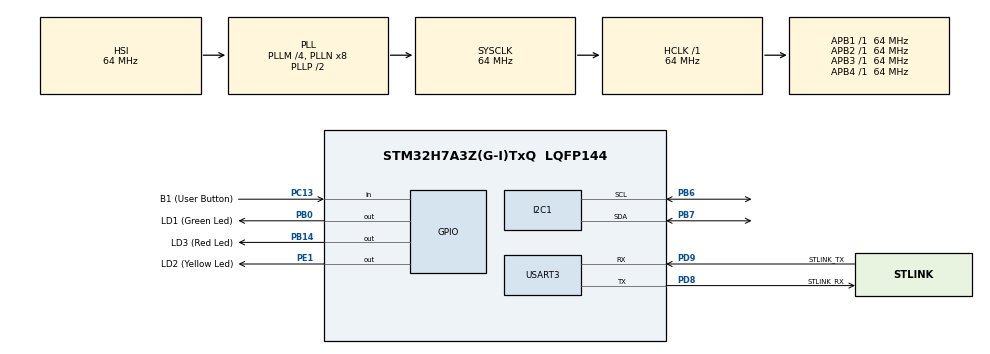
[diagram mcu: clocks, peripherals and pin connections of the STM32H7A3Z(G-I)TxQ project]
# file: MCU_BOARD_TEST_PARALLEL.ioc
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CORTEX_M7.default_mode_Activation=1
Mcu.Family=STM32H7
Mcu.Name=STM32H7A3Z(G-I)TxQ
Mcu.Package=LQFP144
NVIC.PriorityGroup=NVIC_PRIORITYGROUP_4
PB0.GPIO_Label=LD1 (Green Led)
PB0.Signal=GPIO_Output
PB14.GPIO_Label=LD3 (Red Led)
PB14.Signal=GPIO_Output
PB6.GPIO_Pu=GPIO_PULLUP
PB6.Mode=I2C
PB6.Signal=I2C1_SCL
PB7.GPIO_Pu=GPIO_PULLUP
PB7.Mode=I2C
PB7.Signal=I2C1_SDA
PC13.GPIO_Label=B1 (User Button)
PC13.Signal=GPIO_Input
PC14-OSC32_IN.GPIO_Label=OSC32_IN
PC14-OSC32_IN.Signal=RCC_OSC32_IN
PC15-OSC32_OUT.GPIO_Label=OSC32_OUT
PC15-OSC32_OUT.Signal=RCC_OSC32_OUT
PD8.GPIO_Label=STLINK_RX
PD8.Mode=Asynchronous
PD8.Signal=USART3_TX
PD9.GPIO_Label=STLINK_TX
PD9.Mode=Asynchronous
PD9.Signal=USART3_RX
PE1.GPIO_Label=LD2 (Yellow Led)
PE1.Signal=GPIO_Output
PH0-OSC_IN.GPIO_Label=PH0-MCU
PH0-OSC_IN.Signal=RCC_OSC_IN
PH1-OSC_OUT.GPIO_Label=PH1-MCU
PH1-OSC_OUT.Signal=RCC_OSC_OUT
ProjectManager.HeapSize=0x200
ProjectManager.StackSize=0x400
ProjectManager.TargetToolchain=STM32CubeIDE
RCC.ADCFreq_Value=129000000
RCC.APB1Freq_Value=64000000
RCC.APB2Freq_Value=64000000
RCC.APB3Freq_Value=64000000
RCC.APB4Freq_Value=64000000
RCC.CortexFreq_Value=64000000
RCC.DIVM1=4
RCC.DIVM3=1
RCC.DIVN1=8
RCC.DIVN3=24
RCC.DIVQ1=4
RCC.HCLKFreq_Value=64000000
RCC.HSE_VALUE=8000000
RCC.PLLFRACN=0
RCC.PWR_Regulator_Voltage_Scale=PWR_REGULATOR_VOLTAGE_SCALE0
RCC.SYSCLKFreq_VALUE=64000000
RCC.SYSCLKSource=RCC_SYSCLKSOURCE_PLLCLK
RCC.SupplySource=PWR_DIRECT_SMPS_SUPPLY
RCC.USBCLockSelection=RCC_USBCLKSOURCE_HSI48
RCC.USBFreq_Value=48000000
USART3.VirtualMode-Asynchronous=VM_ASYNC
VP_MEMORYMAP_VS_MEMORYMAP.Mode=CurAppReg
board=NUCLEO-H7A3ZI-Q

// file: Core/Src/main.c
/* USER CODE BEGIN Header */
/**
  ******************************************************************************
  * @file           : main.c
  * @brief          : Main program body
  ******************************************************************************
  * @attention
  *
  * Copyright (c) 2026 STMicroelectronics.
  * All rights reserved.
  *
  * This software is licensed under terms that can be found in the LICENSE file
  * in the root directory of this software component.
  * If no LICENSE file comes with this software, it is provided AS-IS.
  *
  ******************************************************************************
  */
/* USER CODE END Header */
#include "main.h"

I2C_HandleTypeDef hi2c1;

UART_HandleTypeDef huart3;

void SystemClock_Config(void);
static void MPU_Config(void);
static void MX_GPIO_Init(void);
static void MX_I2C1_Init(void);
static void MX_USART3_UART_Init(void);
/* USER CODE BEGIN PFP */

void I2C_Scanner(void);

/* USER CODE END PFP */

int main(void)
{

  /* MPU Configuration--------------------------------------------------------*/
  MPU_Config();

  /* MCU Configuration--------------------------------------------------------*/

  /* Reset of all peripherals, Initializes the Flash interface and the Systick. */
  HAL_Init();

  /* Configure the system clock */
  SystemClock_Config();

  /* Initialize all configured peripherals */
  MX_GPIO_Init();
  MX_I2C1_Init();
  MX_USART3_UART_Init();

  /* Infinite loop */
  /* USER CODE BEGIN WHILE */
  while (1)
  {
	  I2C_Scanner();
	  HAL_Delay(5000);
    /* USER CODE END WHILE */

  }
}

void SystemClock_Config(void)
{
  RCC_OscInitTypeDef RCC_OscInitStruct = {0};
  RCC_ClkInitTypeDef RCC_ClkInitStruct = {0};

  /*AXI clock gating */
  RCC->CKGAENR = 0xE003FFFF;

  /** Supply configuration update enable
  */
  HAL_PWREx_ConfigSupply(PWR_DIRECT_SMPS_SUPPLY);

  /** Configure the main internal regulator output voltage
  */
  __HAL_PWR_VOLTAGESCALING_CONFIG(PWR_REGULATOR_VOLTAGE_SCALE0);

  while(!__HAL_PWR_GET_FLAG(PWR_FLAG_VOSRDY)) {}

  /** Initializes the RCC Oscillators according to the specified parameters
  * in the RCC_OscInitTypeDef structure.
  */
  RCC_OscInitStruct.OscillatorType = RCC_OSCILLATORTYPE_HSI;
  RCC_OscInitStruct.HSIState = RCC_HSI_DIV1;
  RCC_OscInitStruct.HSICalibrationValue = 64;
  RCC_OscInitStruct.PLL.PLLState = RCC_PLL_ON;
  RCC_OscInitStruct.PLL.PLLSource = RCC_PLLSOURCE_HSI;
  RCC_OscInitStruct.PLL.PLLM = 4;
  RCC_OscInitStruct.PLL.PLLN = 8;
  RCC_OscInitStruct.PLL.PLLP = 2;
  RCC_OscInitStruct.PLL.PLLQ = 4;
  RCC_OscInitStruct.PLL.PLLR = 2;
  RCC_OscInitStruct.PLL.PLLRGE = RCC_PLL1VCIRANGE_3;
  RCC_OscInitStruct.PLL.PLLVCOSEL = RCC_PLL1VCOWIDE;
  RCC_OscInitStruct.PLL.PLLFRACN = 0;
  if (HAL_RCC_OscConfig(&RCC_OscInitStruct) != HAL_OK)
  {
    Error_Handler();
  }

  /** Initializes the CPU, AHB and APB buses clocks
  */
  RCC_ClkInitStruct.ClockType = RCC_CLOCKTYPE_HCLK|RCC_CLOCKTYPE_SYSCLK
                              |RCC_CLOCKTYPE_PCLK1|RCC_CLOCKTYPE_PCLK2
                              |RCC_CLOCKTYPE_D3PCLK1|RCC_CLOCKTYPE_D1PCLK1;
  RCC_ClkInitStruct.SYSCLKSource = RCC_SYSCLKSOURCE_PLLCLK;
  RCC_ClkInitStruct.SYSCLKDivider = RCC_SYSCLK_DIV1;
  RCC_ClkInitStruct.AHBCLKDivider = RCC_HCLK_DIV1;
  RCC_ClkInitStruct.APB3CLKDivider = RCC_APB3_DIV1;
  RCC_ClkInitStruct.APB1CLKDivider = RCC_APB1_DIV1;
  RCC_ClkInitStruct.APB2CLKDivider = RCC_APB2_DIV1;
  RCC_ClkInitStruct.APB4CLKDivider = RCC_APB4_DIV1;

  if (HAL_RCC_ClockConfig(&RCC_ClkInitStruct, FLASH_LATENCY_1) != HAL_OK)
  {
    Error_Handler();
  }
}

static void MX_I2C1_Init(void)
{

  hi2c1.Instance = I2C1;
  hi2c1.Init.Timing = 0x10707DBC;
  hi2c1.Init.OwnAddress1 = 0;
  hi2c1.Init.AddressingMode = I2C_ADDRESSINGMODE_7BIT;
  hi2c1.Init.DualAddressMode = I2C_DUALADDRESS_DISABLE;
  hi2c1.Init.OwnAddress2 = 0;
  hi2c1.Init.OwnAddress2Masks = I2C_OA2_NOMASK;
  hi2c1.Init.GeneralCallMode = I2C_GENERALCALL_DISABLE;
  hi2c1.Init.NoStretchMode = I2C_NOSTRETCH_DISABLE;
  if (HAL_I2C_Init(&hi2c1) != HAL_OK)
  {
    Error_Handler();
  }

  /** Configure Analogue filter
  */
  if (HAL_I2CEx_ConfigAnalogFilter(&hi2c1, I2C_ANALOGFILTER_ENABLE) != HAL_OK)
  {
    Error_Handler();
  }

  /** Configure Digital filter
  */
  if (HAL_I2CEx_ConfigDigitalFilter(&hi2c1, 0) != HAL_OK)
  {
    Error_Handler();
  }

}

static void MX_USART3_UART_Init(void)
{

  huart3.Instance = USART3;
  huart3.Init.BaudRate = 115200;
  huart3.Init.WordLength = UART_WORDLENGTH_8B;
  huart3.Init.StopBits = UART_STOPBITS_1;
  huart3.Init.Parity = UART_PARITY_NONE;
  huart3.Init.Mode = UART_MODE_TX_RX;
  huart3.Init.HwFlowCtl = UART_HWCONTROL_NONE;
  huart3.Init.OverSampling = UART_OVERSAMPLING_16;
  huart3.Init.OneBitSampling = UART_ONE_BIT_SAMPLE_DISABLE;
  huart3.Init.ClockPrescaler = UART_PRESCALER_DIV1;
  huart3.AdvancedInit.AdvFeatureInit = UART_ADVFEATURE_NO_INIT;
  if (HAL_UART_Init(&huart3) != HAL_OK)
  {
    Error_Handler();
  }
  if (HAL_UARTEx_SetTxFifoThreshold(&huart3, UART_TXFIFO_THRESHOLD_1_8) != HAL_OK)
  {
    Error_Handler();
  }
  if (HAL_UARTEx_SetRxFifoThreshold(&huart3, UART_RXFIFO_THRESHOLD_1_8) != HAL_OK)
  {
    Error_Handler();
  }
  if (HAL_UARTEx_DisableFifoMode(&huart3) != HAL_OK)
  {
    Error_Handler();
  }

}

static void MX_GPIO_Init(void)
{
  GPIO_InitTypeDef GPIO_InitStruct = {0};

  /* GPIO Ports Clock Enable */
  __HAL_RCC_GPIOC_CLK_ENABLE();
  __HAL_RCC_GPIOH_CLK_ENABLE();
  __HAL_RCC_GPIOB_CLK_ENABLE();
  __HAL_RCC_GPIOD_CLK_ENABLE();
  __HAL_RCC_GPIOE_CLK_ENABLE();

  /*Configure GPIO pin Output Level */
  HAL_GPIO_WritePin(GPIOB, LD1_Pin|LD3_Pin, GPIO_PIN_RESET);

  /*Configure GPIO pin Output Level */
  HAL_GPIO_WritePin(LD2_GPIO_Port, LD2_Pin, GPIO_PIN_RESET);

  /*Configure GPIO pin : B1_Pin */
  GPIO_InitStruct.Pin = B1_Pin;
  GPIO_InitStruct.Mode = GPIO_MODE_INPUT;
  GPIO_InitStruct.Pull = GPIO_NOPULL;
  HAL_GPIO_Init(B1_GPIO_Port, &GPIO_InitStruct);

  /*Configure GPIO pins : LD1_Pin LD3_Pin */
  GPIO_InitStruct.Pin = LD1_Pin|LD3_Pin;
  GPIO_InitStruct.Mode = GPIO_MODE_OUTPUT_PP;
  GPIO_InitStruct.Pull = GPIO_NOPULL;
  GPIO_InitStruct.Speed = GPIO_SPEED_FREQ_LOW;
  HAL_GPIO_Init(GPIOB, &GPIO_InitStruct);

  /*Configure GPIO pin : LD2_Pin */
  GPIO_InitStruct.Pin = LD2_Pin;
  GPIO_InitStruct.Mode = GPIO_MODE_OUTPUT_PP;
  GPIO_InitStruct.Pull = GPIO_NOPULL;
  GPIO_InitStruct.Speed = GPIO_SPEED_FREQ_LOW;
  HAL_GPIO_Init(LD2_GPIO_Port, &GPIO_InitStruct);

}

/* USER CODE BEGIN 4 */
/************************************* USER DEFINED FUNCTIONS ****************************************/
/************************************* USER DEFINED FUNCTIONS ****************************************/
/************************************* USER DEFINED FUNCTIONS ****************************************/
void I2C_Scanner(void)
{
    char msg[64];
    HAL_UART_Transmit(&huart3, (uint8_t*)"Scanning I2C bus...\r\n", 21, 100);

    HAL_StatusTypeDef result;
    uint8_t i;
    int count = 0;

    for (i = 1; i < 128; i++)
    {
        /*
         * HAL_I2C_IsDeviceReady checks if a device acknowledges an address.
         * Params:
         * 1. I2C Handle (&hi2c1)
         * 2. Device Address (shifted left by 1)
         * 3. Number of trials (1 is usually enough)
         * 4. Timeout in ms (10ms)
         */
        result = HAL_I2C_IsDeviceReady(&hi2c1, (uint16_t)(i << 1), 1, 10);

        if (result == HAL_OK)
        {
            sprintf(msg, "I2C device found at address: 0x%02X\r\n", i);
            HAL_UART_Transmit(&huart3, (uint8_t*)msg, strlen(msg), 100);
            count++;
        }
    }

    if (count == 0)
    {
        HAL_UART_Transmit(&huart3, (uint8_t*)"No I2C devices found.\r\n", 25, 100);
    }
    else
    {
        HAL_UART_Transmit(&huart3, (uint8_t*)"Scan Complete.\r\n", 16, 100);
    }
}
/************************************* USER DEFINED FUNCTIONS ****************************************/
/************************************* USER DEFINED FUNCTIONS ****************************************/
/************************************* USER DEFINED FUNCTIONS ****************************************/
/* USER CODE END 4 */

 /* MPU Configuration */

void MPU_Config(void)
{
  MPU_Region_InitTypeDef MPU_InitStruct = {0};

  /* Disables the MPU */
  HAL_MPU_Disable();

  /** Initializes and configures the Region and the memory to be protected
  */
  MPU_InitStruct.Enable = MPU_REGION_ENABLE;
  MPU_InitStruct.Number = MPU_REGION_NUMBER0;
  MPU_InitStruct.BaseAddress = 0x0;
  MPU_InitStruct.Size = MPU_REGION_SIZE_4GB;
  MPU_InitStruct.SubRegionDisable = 0x87;
  MPU_InitStruct.TypeExtField = MPU_TEX_LEVEL0;
  MPU_InitStruct.AccessPermission = MPU_REGION_NO_ACCESS;
  MPU_InitStruct.DisableExec = MPU_INSTRUCTION_ACCESS_DISABLE;
  MPU_InitStruct.IsShareable = MPU_ACCESS_SHAREABLE;
  MPU_InitStruct.IsCacheable = MPU_ACCESS_NOT_CACHEABLE;
  MPU_InitStruct.IsBufferable = MPU_ACCESS_NOT_BUFFERABLE;

  HAL_MPU_ConfigRegion(&MPU_InitStruct);
  /* Enables the MPU */
  HAL_MPU_Enable(MPU_PRIVILEGED_DEFAULT);

}

void Error_Handler(void)
{
  __disable_irq();
  while (1)
  {
  }
}
